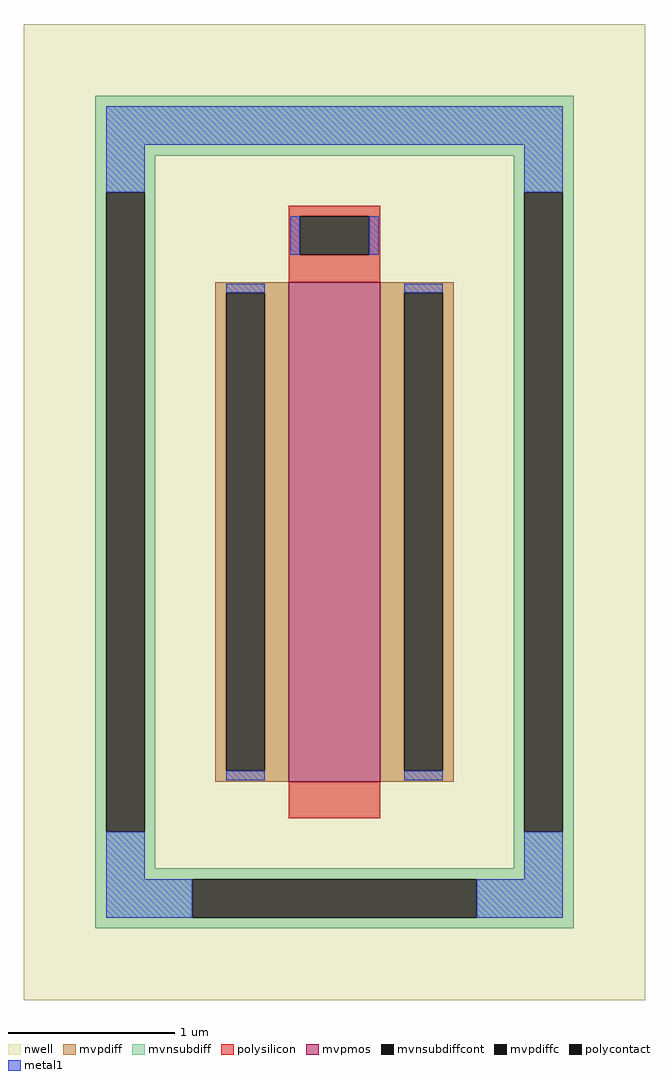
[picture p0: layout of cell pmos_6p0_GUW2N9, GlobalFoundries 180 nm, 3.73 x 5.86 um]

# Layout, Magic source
magic
tech gf180mcuD
magscale 1 10
<< nwell >>
rect -378 -586 368 586
<< mvpmos >>
rect -60 -324 50 276
<< mvpdiff >>
rect -148 263 -60 276
rect -148 -311 -135 263
rect -89 -311 -60 263
rect -148 -324 -60 -311
rect 50 263 138 276
rect 50 -311 79 263
rect 125 -311 138 263
rect 50 -324 138 -311
<< mvpdiffc >>
rect -135 -311 -89 263
rect 79 -311 125 263
<< mvnsubdiff >>
rect -292 428 282 500
rect -292 384 -220 428
rect -292 -384 -279 384
rect -233 -384 -220 384
rect 210 384 282 428
rect -292 -428 -220 -384
rect 210 -384 223 384
rect 269 -384 282 384
rect 210 -428 282 -384
rect -292 -441 282 -428
rect -292 -487 -176 -441
rect 166 -487 282 -441
rect -292 -500 282 -487
<< mvnsubdiffcont >>
rect -279 -384 -233 384
rect 223 -384 269 384
rect -176 -487 166 -441
<< polysilicon >>
rect -60 355 50 368
rect -60 309 -47 355
rect 37 309 50 355
rect -60 276 50 309
rect -60 -368 50 -324
<< polycontact >>
rect -47 309 37 355
<< metal1 >>
rect -279 441 269 487
rect -279 384 -233 441
rect 223 384 269 441
rect -58 309 -47 355
rect 37 309 48 355
rect -135 263 -89 274
rect -135 -322 -89 -311
rect 79 263 125 274
rect 79 -322 125 -311
rect -279 -441 -233 -384
rect 223 -441 269 -384
rect -279 -487 -176 -441
rect 166 -487 269 -441
<< properties >>
string FIXED_BBOX -246 -464 246 464
string gencell pmos_6p0
string library gf180mcu
string parameters w 3.0 l 0.5 m 1 nf 1 diffcov 100 polycov 100 guard 1 glc 1 grc 1 gtc 0 gbc 1 tbcov 100 rlcov 100 topc 1 botc 0 poverlap 0 doverlap 1 lmin 0.5 wmin 0.3 full_metal 1 compatible {pmos_3p3 pmos_6p0}
<< end >>
